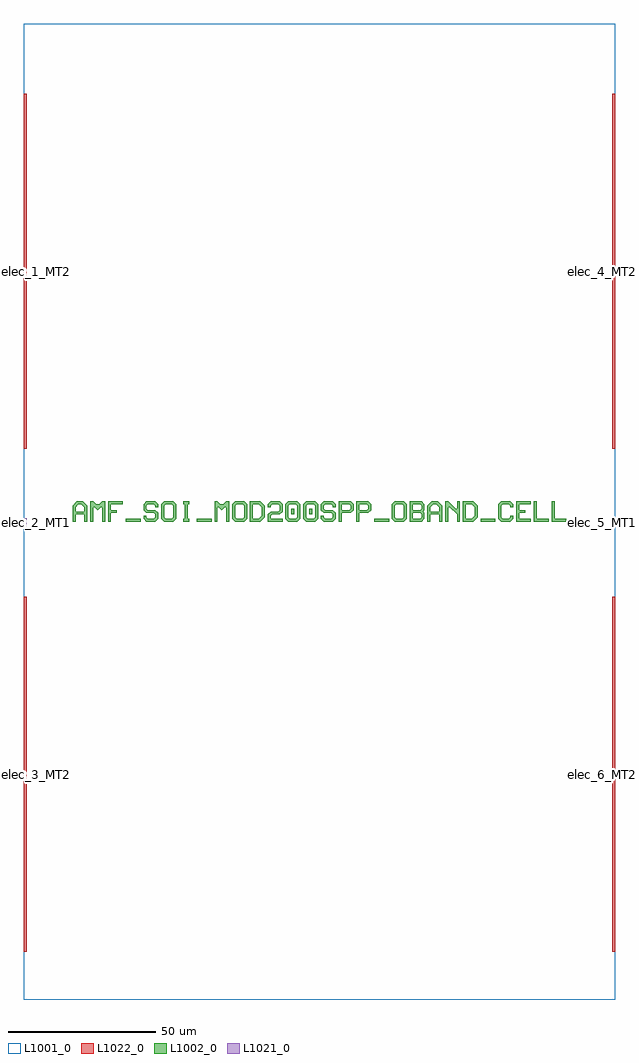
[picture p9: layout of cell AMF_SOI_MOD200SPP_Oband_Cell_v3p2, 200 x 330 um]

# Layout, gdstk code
import gdstk
lib = gdstk.Library(unit=1e-6, precision=1e-09)
def R(c, l, rs):  # rectangles x0, y0, x1, y1
    for r in rs: c.add(gdstk.rectangle(r[:2], r[2:], *l))
def P(c, l, *ps):  # polygons
    for p in ps: c.add(gdstk.Polygon(p, *l))
L1001_0 = (1001, 0)
L1002_0 = (1002, 0)
L1021_0 = (1021, 0)
L1022_0 = (1022, 0)

amf_soi_mod200spp_oband_ = lib.new_cell('AMF_SOI_MOD200SPP_Oband_Cell_v3p2')
R(amf_soi_mod200spp_oband_, L1001_0, [(0,-161.2,200,168.8)])
R(amf_soi_mod200spp_oband_, L1002_0, [(34.5,0.3,39.5,1.3), (58.5,0.3,63.5,1.3), (118.5,0.3,123.5,1.3), (154.5,0.3,159.5,1.3), (90.5,2.8,91.5,4.8), (96.5,2.8,97.5,4.8)])
P(amf_soi_mod200spp_oband_, L1002_0, [(16.5,0.3),(16.5,5.8),(18,7.3),(20,7.3),(21,6.3),(18.5,6.3),(17.5,5.3),(17.5,3.8),(20.5,3.8),(20.5,5.3),(19.5,6.3),(21,6.3),(21.5,5.8),(21.5,0.3),(20.5,0.3),(20.5,2.8),(17.5,2.8),(17.5,0.3)],
  [(22.5,0.3),(22.5,7.3),(23.5,7.3),(24.5,6.3),(25.5,6.3),(26.5,7.3),(27.5,7.3),(27.5,0.3),(26.5,0.3),(26.5,5.3),(26,5.3),(25,4.3),(24,5.3),(23.5,5.3),(23.5,0.3)],
  [(28.5,0.3),(28.5,7.3),(33.5,7.3),(33.5,6.3),(29.5,6.3),(29.5,4.3),(31.5,4.3),(31.5,3.3),(29.5,3.3),(29.5,0.3)],
  [(41.5,0.3),(40.5,1.3),(40.5,2.3),(41.5,2.3),(41.5,1.8),(42,1.3),(44,1.3),(44.5,1.8),(44.5,2.8),(44,3.3),(41.5,3.3),(40.5,4.3),(40.5,6.3),(41.5,7.3),(44.5,7.3),(45.5,6.3),(45.5,5.3),(44.5,5.3),(44.5,5.8),(44,6.3),(42,6.3),(41.5,5.8),(41.5,4.8),(42,4.3),(44.5,4.3),(45.5,3.3),(45.5,1.3),(44.5,0.3)],
  [(47.5,0.3),(46.5,1.3),(46.5,6.3),(47.5,7.3),(50.5,7.3),(51.5,6.3),(51.5,3.8),(50.5,3.8),(50.5,5.8),(50,6.3),(48,6.3),(47.5,5.8),(47.5,1.8),(48,1.3),(50,1.3),(50.5,1.8),(50.5,3.8),(51.5,3.8),(51.5,1.3),(50.5,0.3)],
  [(54,0.3),(54,1.3),(54.5,1.3),(54.5,6.3),(54,6.3),(54,7.3),(56,7.3),(56,6.3),(55.5,6.3),(55.5,1.3),(56,1.3),(56,0.3)],
  [(64.5,0.3),(64.5,7.3),(65.5,7.3),(66.5,6.3),(67.5,6.3),(68.5,7.3),(69.5,7.3),(69.5,0.3),(68.5,0.3),(68.5,5.3),(68,5.3),(67,4.3),(66,5.3),(65.5,5.3),(65.5,0.3)],
  [(71.5,0.3),(70.5,1.3),(70.5,6.3),(71.5,7.3),(74.5,7.3),(75.5,6.3),(75.5,3.8),(74.5,3.8),(74.5,5.8),(74,6.3),(72,6.3),(71.5,5.8),(71.5,1.8),(72,1.3),(74,1.3),(74.5,1.8),(74.5,3.8),(75.5,3.8),(75.5,1.3),(74.5,0.3)],
  [(76.5,0.3),(76.5,7.3),(80,7.3),(81,6.3),(77.5,6.3),(77.5,1.3),(79.5,1.3),(80.5,2.3),(80.5,5.3),(79.5,6.3),(81,6.3),(81.5,5.8),(81.5,1.8),(80,0.3)],
  [(82.5,0.3),(82.5,2.8),(83.5,3.8),(86,3.8),(86.5,4.3),(86.5,5.8),(86,6.3),(84,6.3),(83.5,5.8),(83.5,5.3),(82.5,5.3),(82.5,6.3),(83.5,7.3),(86.5,7.3),(87.5,6.3),(87.5,3.8),(86.5,2.8),(84,2.8),(83.5,2.3),(83.5,1.3),(87.5,1.3),(87.5,0.3)],
  [(89.5,0.3),(88.5,1.3),(88.5,6.3),(89.5,7.3),(92.5,7.3),(93.5,6.3),(90,6.3),(89.5,5.8),(89.5,1.8),(90,1.3),(92,1.3),(92.5,1.8),(92.5,5.8),(92,6.3),(93.5,6.3),(93.5,1.3),(92.5,0.3)],
  [(95.5,0.3),(94.5,1.3),(94.5,6.3),(95.5,7.3),(98.5,7.3),(99.5,6.3),(96,6.3),(95.5,5.8),(95.5,1.8),(96,1.3),(98,1.3),(98.5,1.8),(98.5,5.8),(98,6.3),(99.5,6.3),(99.5,1.3),(98.5,0.3)],
  [(101.5,0.3),(100.5,1.3),(100.5,2.3),(101.5,2.3),(101.5,1.8),(102,1.3),(104,1.3),(104.5,1.8),(104.5,2.8),(104,3.3),(101.5,3.3),(100.5,4.3),(100.5,6.3),(101.5,7.3),(104.5,7.3),(105.5,6.3),(105.5,5.3),(104.5,5.3),(104.5,5.8),(104,6.3),(102,6.3),(101.5,5.8),(101.5,4.8),(102,4.3),(104.5,4.3),(105.5,3.3),(105.5,1.3),(104.5,0.3)],
  [(106.5,0.3),(106.5,7.3),(110.5,7.3),(111.5,6.3),(111.5,4.3),(110.5,3.3),(107.5,3.3),(107.5,4.3),(110,4.3),(110.5,4.8),(110.5,5.8),(110,6.3),(107.5,6.3),(107.5,0.3)],
  [(112.5,0.3),(112.5,7.3),(116.5,7.3),(117.5,6.3),(117.5,4.3),(116.5,3.3),(113.5,3.3),(113.5,4.3),(116,4.3),(116.5,4.8),(116.5,5.8),(116,6.3),(113.5,6.3),(113.5,0.3)],
  [(125.5,0.3),(124.5,1.3),(124.5,6.3),(125.5,7.3),(128.5,7.3),(129.5,6.3),(129.5,3.8),(128.5,3.8),(128.5,5.8),(128,6.3),(126,6.3),(125.5,5.8),(125.5,1.8),(126,1.3),(128,1.3),(128.5,1.8),(128.5,3.8),(129.5,3.8),(129.5,1.3),(128.5,0.3)],
  [(130.5,0.3),(130.5,7.3),(134.5,7.3),(135.5,6.3),(131.5,6.3),(131.5,4.3),(134,4.3),(134.5,4.8),(134.5,5.8),(134,6.3),(135.5,6.3),(135.5,4.3),(135,3.8),(135.5,3.3),(131.5,3.3),(131.5,1.3),(134,1.3),(134.5,1.8),(134.5,2.8),(134,3.3),(135.5,3.3),(135.5,1.3),(134.5,0.3)],
  [(136.5,0.3),(136.5,5.8),(138,7.3),(140,7.3),(141,6.3),(138.5,6.3),(137.5,5.3),(137.5,3.8),(140.5,3.8),(140.5,5.3),(139.5,6.3),(141,6.3),(141.5,5.8),(141.5,0.3),(140.5,0.3),(140.5,2.8),(137.5,2.8),(137.5,0.3)],
  [(142.5,0.3),(142.5,7.3),(143.5,7.3),(146,4.8),(146.5,4.8),(146.5,7.3),(147.5,7.3),(147.5,0.3),(146.5,0.3),(146.5,2.8),(144,5.3),(143.5,5.3),(143.5,0.3)],
  [(148.5,0.3),(148.5,7.3),(152,7.3),(153,6.3),(149.5,6.3),(149.5,1.3),(151.5,1.3),(152.5,2.3),(152.5,5.3),(151.5,6.3),(153,6.3),(153.5,5.8),(153.5,1.8),(152,0.3)],
  [(161.5,0.3),(160.5,1.3),(160.5,6.3),(161.5,7.3),(164.5,7.3),(165.5,6.3),(165.5,5.3),(164.5,5.3),(164.5,5.8),(164,6.3),(162,6.3),(161.5,5.8),(161.5,1.8),(162,1.3),(164,1.3),(164.5,1.8),(164.5,2.3),(165.5,2.3),(165.5,1.3),(164.5,0.3)],
  [(166.5,0.3),(166.5,7.3),(171.5,7.3),(171.5,6.3),(167.5,6.3),(167.5,4.3),(169.5,4.3),(169.5,3.3),(167.5,3.3),(167.5,1.3),(171.5,1.3),(171.5,0.3)],
  [(172.5,0.3),(172.5,7.3),(173.5,7.3),(173.5,1.3),(177.5,1.3),(177.5,0.3)],
  [(178.5,0.3),(178.5,7.3),(179.5,7.3),(179.5,1.3),(183.5,1.3),(183.5,0.3)])
R(amf_soi_mod200spp_oband_, L1021_0, [(0,-1.5,1,1.5), (199,-1.5,200,1.5)])
R(amf_soi_mod200spp_oband_, L1022_0, [(0,-145,1,-25), (199,-145,200,-25), (0,25,1,145), (199,25,200,145)])
amf_soi_mod200spp_oband_.add(gdstk.Label('elec_5_MT1', (200,0), layer=1021, texttype=0))
amf_soi_mod200spp_oband_.add(gdstk.Label('elec_2_MT1', (0,0), layer=1021, texttype=0))
amf_soi_mod200spp_oband_.add(gdstk.Label('elec_4_MT2', (200,85), layer=1022, texttype=0))
amf_soi_mod200spp_oband_.add(gdstk.Label('elec_6_MT2', (200,-85), layer=1022, texttype=0))
amf_soi_mod200spp_oband_.add(gdstk.Label('elec_1_MT2', (0,85), layer=1022, texttype=0))
amf_soi_mod200spp_oband_.add(gdstk.Label('elec_3_MT2', (0,-85), layer=1022, texttype=0))

lib.write_gds('AMF_SOI_MOD200SPP_Oband_Cell_v3p2.gds')
